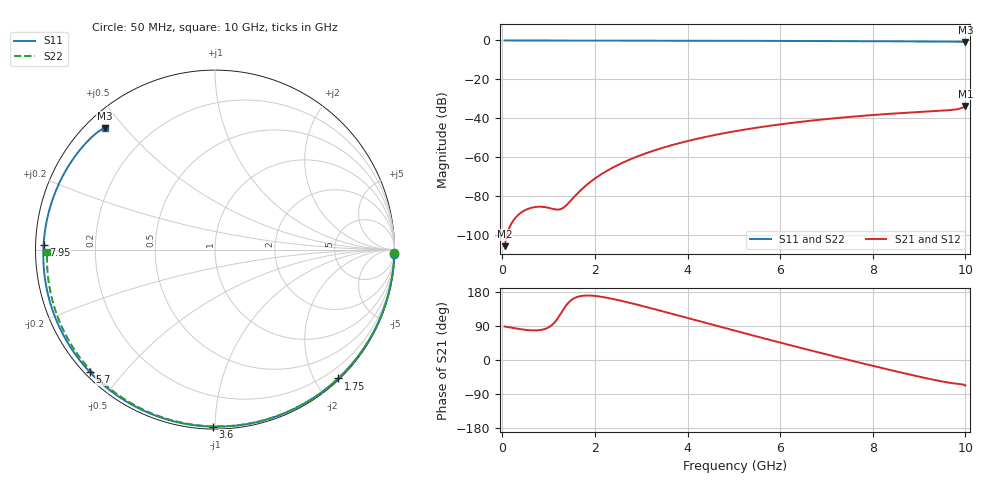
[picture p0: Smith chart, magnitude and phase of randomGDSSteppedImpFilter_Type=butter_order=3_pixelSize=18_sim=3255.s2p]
! freq	dB(S11)	phase(S11)	dB(S12)	phase(S12)
!  dB(S21)	phase(S21)	dB(S22)	phase(S22)
!S-par simulation data
#  GHz  S  DB  R 50
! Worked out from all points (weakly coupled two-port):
!   200 points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, 50 MHz to 10 GHz, reference 50 ohm
!   highest |S21| = -33.79 dB at 10 GHz (marker M1); lowest = -106.0 dB at 50 MHz (marker M2)
!   lowest |S11| = -0.8 dB at 10 GHz (marker M3), VSWR 22.53, Z = 2.66 + j22.1 ohm
!   |S11| at or under -10 dB: nowhere
!   |S22| runs from -0.6 to 0.0 dB; largest |S21 - S12| = 0
!   S11 on the Smith chart (normalised r, x): 50 MHz: 0, -84; 1.75 GHz: 0.02, -2.34; 3.6 GHz: 0.01, -0.99; 5.7 GHz: 0.01, -0.41; 7.95 GHz: 0.02, +0.01; 10 GHz: 0.05, +0.44
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0.05  -0.00 -1.4  -106.00 88.4  -106.00 88.4  -0.00 -1.1
0.75  -0.03 -20.2  -85.71 78.2  -85.71 78.2  -0.02 -15.5
1.55  -0.05 -41.1  -80.69 162.8  -80.69 162.8  -0.04 -31.9
1.6  -0.05 -42.4  -79.42 165.6  -79.42 165.6  -0.04 -32.9
1.75  -0.06 -46.2  -75.93 169.7  -75.93 169.7  -0.05 -35.9
2.05  -0.07 -53.8  -70.31 168.4  -70.31 168.4  -0.05 -41.8
2.45  -0.08 -63.7  -64.72 159.5  -64.72 159.5  -0.06 -49.7
2.9  -0.09 -74.5  -59.94 146.4  -59.94 146.4  -0.08 -58.3
3.4  -0.11 -86.2  -55.78 130.5  -55.78 130.5  -0.09 -67.7
3.6  -0.12 -90.7  -54.36 124.0  -54.36 124.0  -0.10 -71.4
4.3  -0.14 -106.3  -50.16 101.0  -50.16 101.0  -0.12 -84.1
5.05  -0.18 -122.2  -46.66 76.5  -46.66 76.5  -0.15 -97.2
5.7  -0.22 -135.7  -44.22 55.5  -44.22 55.5  -0.18 -108.3
6.2  -0.25 -145.8  -42.63 39.6  -42.63 39.6  -0.21 -116.6
6.7  -0.29 -156.0  -41.24 24.0  -41.24 24.0  -0.24 -124.8
7.35  -0.34 -169.2  -39.70 4.0  -39.70 4.0  -0.29 -135.4
7.95  -0.40 178.4  -38.51 -13.9  -38.51 -13.9  -0.34 -145.1
8.35  -0.44 169.9  -37.82 -25.6  -37.82 -25.6  -0.38 -151.6
9.05  -0.52 154.5  -36.79 -45.3  -36.79 -45.3  -0.46 -163.1
9.7  -0.61 139.3  -35.81 -60.8  -35.81 -60.8  -0.54 -174.1
9.9  -0.69 134.4  -34.98 -63.7  -34.98 -63.7  -0.57 -177.5
10  -0.77 132.2  -33.79 -67.2  -33.79 -67.2  -0.58 -179.2
